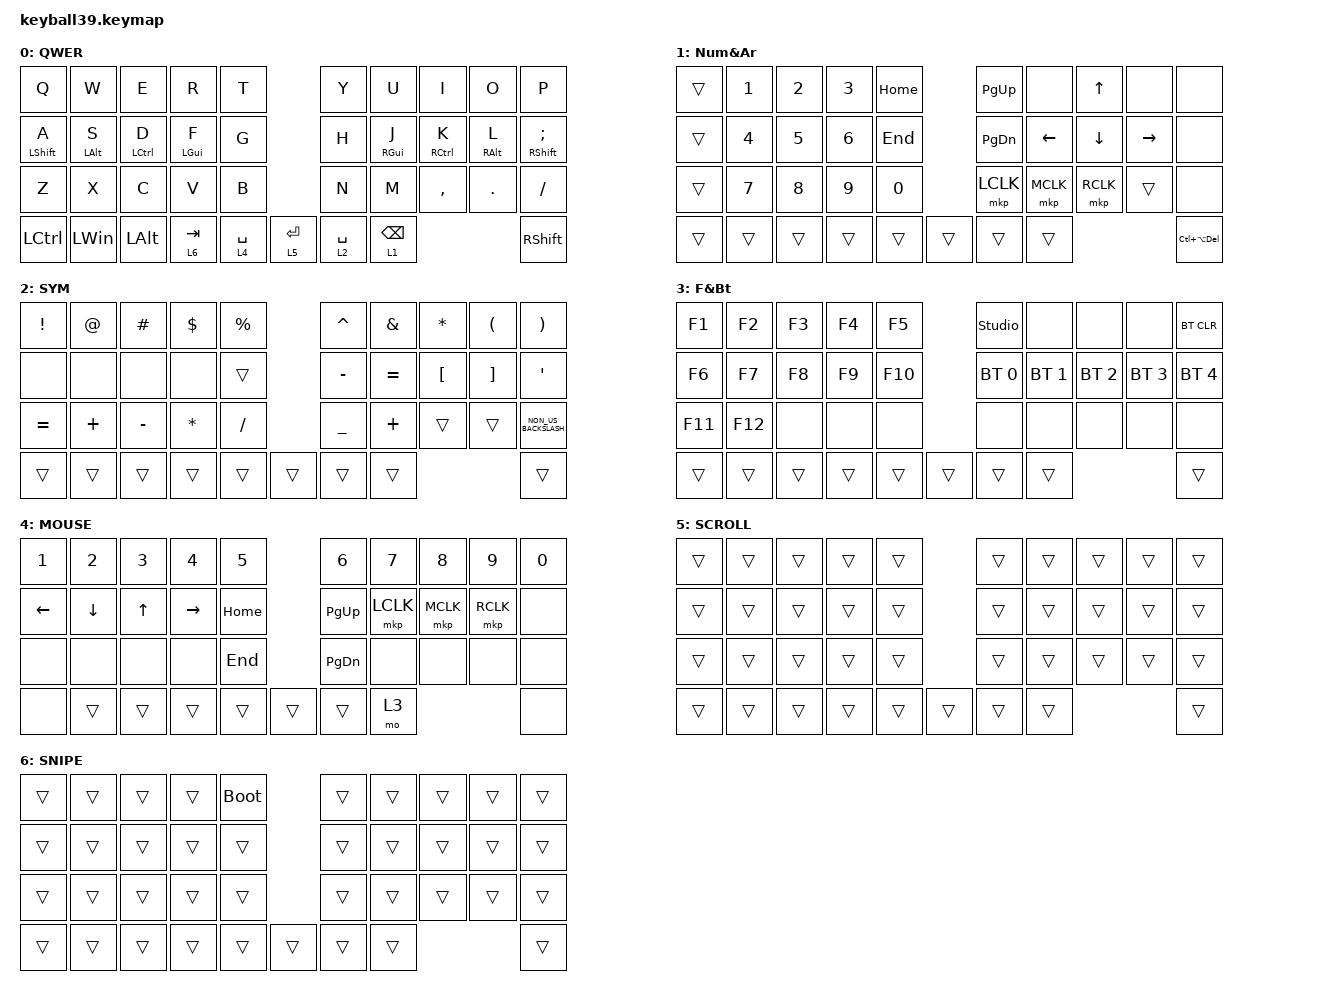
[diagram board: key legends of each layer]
#define DEFAULT 0
#define NUM     1
#define SYM     2
#define FUN     3
#define MOUSE   4
#define SCROLL  5
#define SNIPE   6

#include <behaviors/mouse_keys.dtsi>
#include <dt-bindings/zmk/mouse.h>
#include <dt-bindings/zmk/runtime_input_processor.h>
#include <dt-bindings/input/input-event-codes.h>
#include <behaviors/runtime-input-processor.dtsi>
#include <behaviors.dtsi>
#include <dt-bindings/zmk/bt.h>
#include <dt-bindings/zmk/keys.h>
#include <dt-bindings/zmk/pointing.h>

&lt {
    tapping-term-ms = <240>;
    flavor = "balanced";
    quick-tap-ms = <150>;
};

&mt {
    tapping-term-ms = <200>;
    flavor = "tap-preferred";
    quick-tap-ms = <150>;
};

&caps_word { continue-list = <UNDERSCORE MINUS>; };

/ {
    // custom shift using mod-morph 

    behaviors {
        cmqus: comma_question {
            compatible = "zmk,behavior-mod-morph";
            label = "COMMA_QUESTION";
            #binding-cells = <0>;
            bindings = <&kp COMMA>, <&kp QUESTION>;

            mods = <(MOD_LSFT|MOD_RSFT)>;
        };

        dtsmi: dot_semi {
            compatible = "zmk,behavior-mod-morph";
            label = "DOT_SEMI";
            #binding-cells = <0>;
            bindings = <&kp DOT>, <&kp SEMI>;

            mods = <(MOD_LSFT|MOD_RSFT)>;
        };
    };

    keymap {
        compatible = "zmk,keymap";

        default_layer {
            label = "QWER";
            bindings = <
&kp Q             &kp W           &kp E        &kp R           &kp T                                  &kp Y            &kp U            &kp I        &kp O            &kp P
&mt LEFT_SHIFT A  &mt LEFT_ALT S  &mt LCTRL D  &mt LEFT_GUI F  &kp G                                  &kp H            &mt RIGHT_GUI J  &mt RCTRL K  &mt RIGHT_ALT L  &mt RIGHT_SHIFT SEMI
&kp Z             &kp X           &kp C        &kp V           &kp B                                  &kp N            &kp M            &kp COMMA    &kp DOT          &kp SLASH
&kp LCTRL         &kp LEFT_WIN    &kp LALT     &lt 6 TAB       &lt 4 SPACE  &lt 5 ENTER  &lt 2 SPACE  &lt 1 BACKSPACE                                                 &kp RSHFT
            >;
        };

        number_layer {
            label = "Num&Ar";
            bindings = <
&trans  &kp NUMBER_1  &kp NUMBER_2  &kp NUMBER_3  &kp HOME                  &kp PG_UP      &none           &kp UP_ARROW    &none            &none
&trans  &kp NUMBER_4  &kp N5        &kp NUMBER_6  &kp END                   &kp PAGE_DOWN  &kp LEFT_ARROW  &kp DOWN_ARROW  &kp RIGHT_ARROW  &none
&trans  &kp N7        &kp N8        &kp N9        &kp N0                    &mkp LCLK      &mkp MCLK       &mkp RCLK       &trans           &none
&trans  &trans        &trans        &trans        &trans    &trans  &trans  &trans                                                          &kp LC(LA(DELETE))
            >;
        };

        symbol_layer {
            label = "SYM";
            bindings = <
&kp EXCLAMATION  &kp AT_SIGN  &kp HASH   &kp DOLLAR    &kp PERCENT                  &kp CARET       &kp AMPERSAND  &kp ASTERISK      &kp LEFT_PARENTHESIS  &kp RIGHT_PARENTHESIS
&none            &none        &none      &none         &trans                       &kp MINUS       &kp EQUAL      &kp LEFT_BRACKET  &kp RIGHT_BRACKET     &kp SQT
&kp EQUAL        &kp PLUS     &kp MINUS  &kp ASTERISK  &kp SLASH                    &kp UNDERSCORE  &kp PLUS       &trans            &trans                &kp NON_US_BACKSLASH
&trans           &trans       &trans     &trans        &trans       &trans  &trans  &trans                                                                 &trans
            >;
        };

        function_layer {
            label = "F&Bt";
            bindings = <
&kp F1   &kp F2   &kp F3  &kp F4  &kp F5                   &studio_unlock  &none         &none         &none         &bt BT_CLR
&kp F6   &kp F7   &kp F8  &kp F9  &kp F10                  &bt BT_SEL 0    &bt BT_SEL 1  &bt BT_SEL 2  &bt BT_SEL 3  &bt BT_SEL 4
&kp F11  &kp F12  &none   &none   &none                    &none           &none         &none         &none         &none
&trans   &trans   &trans  &trans  &trans   &trans  &trans  &trans                                                    &trans
            >;
        };

        mouse_layer {
            label = "MOUSE";
            bindings = <
&kp N1          &kp N2          &kp N3        &kp N4     &kp N5                    &kp N6         &kp N7     &kp N8     &kp N9     &kp N0
&kp LEFT_ARROW  &kp DOWN_ARROW  &kp UP_ARROW  &kp RIGHT  &kp HOME                  &kp PAGE_UP    &mkp LCLK  &mkp MCLK  &mkp RCLK  &none
&none           &none           &none         &none      &kp END                   &kp PAGE_DOWN  &none      &none      &none      &none
&none           &trans          &trans        &trans     &trans    &trans  &trans  &mo 3                                           &none
            >;
        };

        scroll_layer {
            label = "SCROLL";
            bindings = <
&trans  &trans  &trans  &trans  &trans                  &trans  &trans  &trans  &trans  &trans
&trans  &trans  &trans  &trans  &trans                  &trans  &trans  &trans  &trans  &trans
&trans  &trans  &trans  &trans  &trans                  &trans  &trans  &trans  &trans  &trans
&trans  &trans  &trans  &trans  &trans  &trans  &trans  &trans                          &trans
            >;
        };

        snipe_layer {
            label = "SNIPE";
            bindings = <
&trans  &trans  &trans  &trans  &bootloader                  &trans  &trans  &trans  &trans  &trans
&trans  &trans  &trans  &trans  &trans                       &trans  &trans  &trans  &trans  &trans
&trans  &trans  &trans  &trans  &trans                       &trans  &trans  &trans  &trans  &trans
&trans  &trans  &trans  &trans  &trans       &trans  &trans  &trans                          &trans
            >;
        };
    };
};

&trackball { cpi = <800>; };
